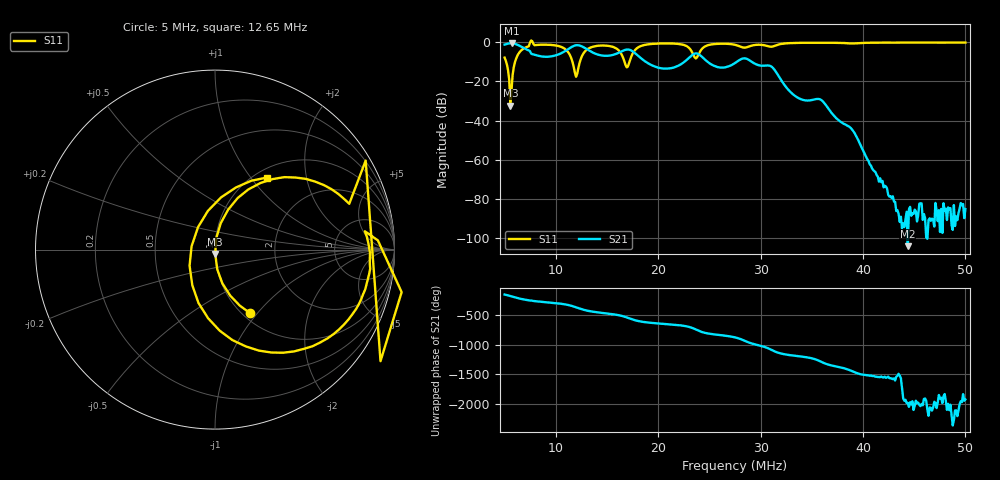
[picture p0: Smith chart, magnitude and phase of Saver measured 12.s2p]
! Measured S11/S21; S12/S22 are placeholders, NOT measurements. Calibration unverified.
! [Saver CAL applied] C:\Users\aknya\MyProjects\rf-simulator\calibration2.cal | Ideal standards assumed | Input: NanoVNA F V2 profile | COM3 | 2026-09-08T17:00:06.2709291-04:00 | device calibration unverified
# HZ S RI R 50
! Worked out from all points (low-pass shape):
!   401 points, 5 MHz to 50 MHz, reference 50 ohm
!   highest |S21| = -0.55 dB at 5.675 MHz (marker M1); lowest = -104.0 dB at 44.38 MHz (marker M2)
!   |S21| within 3 dB of the highest: start of sweep to 7.105 MHz; 11.2 MHz to 13.03 MHz (1.833 MHz wide, 15.1 % of centre)
!   lowest |S11| = -32.4 dB at 5.562 MHz (marker M3), VSWR 1.05, Z = 50.1 - j2.41 ohm
!   |S11| at or under -10 dB: 5.149 MHz to 6.018 MHz (868.2 kHz wide, 15.5 % of centre); 11.63 MHz to 12.35 MHz (721.5 kHz wide, 6.02 % of centre); 16.71 MHz to 17.19 MHz (477.3 kHz wide, 2.82 % of centre)
!   S12 and S22 are empty: the file has one direction only
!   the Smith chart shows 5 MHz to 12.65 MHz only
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5000000  0.1972 -0.3558  -0.7428 -0.4592  0 0  0 0
5562500  0.00148 -0.024  -0.9326 -0.1004  0 0  0 0
5675000  0.00668 0.0624  -0.9388 -0.00794  0 0  0 0
6237500  0.2539 0.3713  -0.7714 0.3947  0 0  0 0
7700000  1.04 -0.2368  -0.1382 0.4782  0 0  0 0
1.09625e7  0.3143 -0.5734  0.4455 0.4132  0 0  0 0
1.1975e7  -0.1304 0.0185  0.8358 -0.0699  0 0  0 0
1.25375e7  0.2022 0.3837  0.6206 -0.4847  0 0  0 0
1.4675e7  0.8058 -0.1855  -0.1061 -0.4413  0 0  0 0
1.61375e7  0.2808 -0.5552  -0.4085 -0.3504  0 0  0 0
1.6925e7  -0.2273 -0.0291  -0.6505 -0.0339  0 0  0 0
1.7825e7  0.3827 0.55  -0.3315 0.3818  0 0  0 0
2.0075e7  0.9279 0.000812  0.0392 0.2194  0 0  0 0
2.35625e7  0.3551 -0.2069  0.5003 -0.1175  0 0  0 0
2.5025e7  0.8543 -0.1292  -0.0228 -0.2884  0 0  0 0
2.75e7  0.7278 -0.4621  -0.2699 -0.1192  0 0  0 0
2.89625e7  0.7209 -0.3386  -0.1165 0.3196  0 0  0 0
3.50375e7  0.6982 -0.6736  -0.0302 -0.0151  0 0  0 0
3.8975e7  0.5373 -0.7626  0.00557 -0.0014  0 0  0 0
4.2575e7  0.4418 -0.873  -7.38e-05 -9.09e-05  0 0  0 0
4.4375e7  0.3718 -0.907  -6.25e-06 1.06e-06  0 0  0 0
5e7  0.1575 -0.9687  -3.64e-05 -4.24e-05  0 0  0 0
